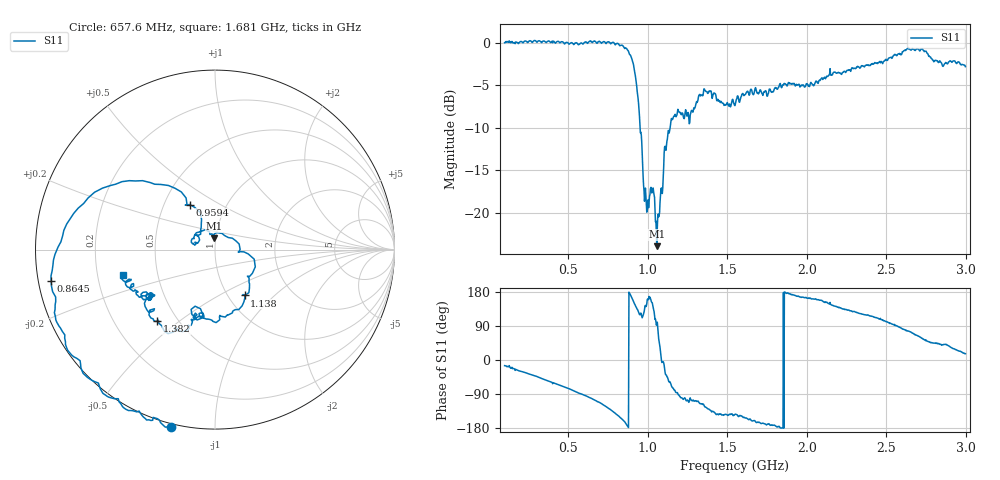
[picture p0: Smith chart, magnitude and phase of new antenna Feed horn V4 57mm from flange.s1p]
# HZ S RI R 50
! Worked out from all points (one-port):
!   1009 points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, 100 MHz to 2.997 GHz, reference 50 ohm
!   lowest |S11| = -23.9 dB at 1.057 GHz (marker M1), VSWR 1.14, Z = 49 + j6.24 ohm
!   |S11| at or under -10 dB: 951.9 MHz to 1.141 GHz (188.7 MHz wide, 18 % of centre)
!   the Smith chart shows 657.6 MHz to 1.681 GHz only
!   S11 on the Smith chart (normalised r, x): 657.6 MHz: -0.02, -0.78; 864.5 MHz: 0.04, -0.09; 959.4 MHz: 0.67, +0.37; 1.138 GHz: 1.19, -0.67; 1.382 GHz: 0.39, -0.42; 1.681 GHz: 0.31, -0.12
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1e8  0.9693 -0.2572
2.983152e8  0.7489 -0.6926
4.621408e8  0.3675 -0.9468
6.575818e8  -0.2443 -0.9898
7.466799e8  -0.5905 -0.8227
8.242815e8  -0.8366 -0.4752
8.645194e8  -0.9127 -0.1752
8.932607e8  -0.8264 0.1423
9.191279e8  -0.5537 0.3644
9.593658e8  -0.1411 0.251
9.85233e8  -0.1132 0.0823
1.028345e9  -0.1182 0.0658
1.057086e9  -0.00608 0.0634
1.097324e9  0.1613 -0.0127
1.137562e9  0.1656 -0.2555
1.186422e9  0.0267 -0.3906
1.269772e9  -0.0933 -0.3732
1.381863e9  -0.3214 -0.3981
1.44222e9  -0.376 -0.2735
1.548563e9  -0.3433 -0.2552
1.680773e9  -0.5129 -0.1421
1.910704e9  -0.5686 0.0772
2.080278e9  -0.5588 0.2288
2.272845e9  -0.4408 0.5303
2.448167e9  -0.2637 0.7147
2.634985e9  0.211 0.9051
2.749951e9  0.5416 0.7106
2.997126e9  0.6949 0.2074
